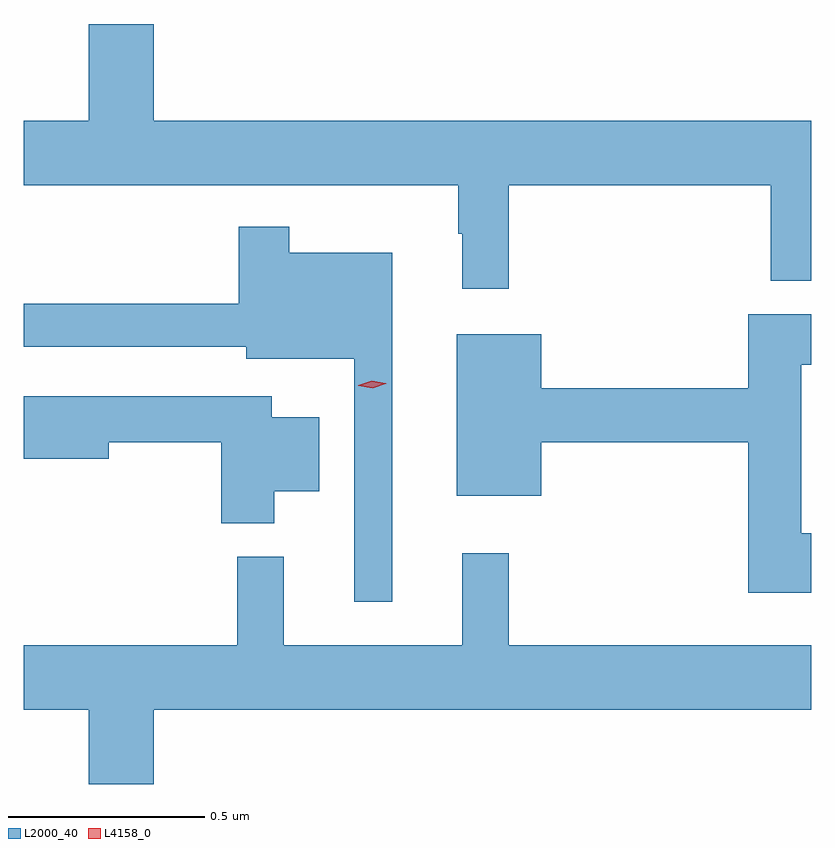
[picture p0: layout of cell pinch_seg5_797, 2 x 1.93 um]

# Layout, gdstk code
import gdstk
lib = gdstk.Library(unit=1e-6, precision=1e-09)
def P(c, l, *ps):  # polygons
    for p in ps: c.add(gdstk.Polygon(p, *l))
L2000_40 = (2000, 40)
L4158_0 = (4158, 0)

pinch_seg5_797 = lib.new_cell('pinch_seg5_797')
P(pinch_seg5_797, L2000_40, [(765.473,911.372),(766.139,911.372),(766.139,911.129),(766.242,911.129),(766.242,911.536),(764.572,911.536),(764.572,911.781),(764.408,911.781),(764.408,911.536),(764.242,911.536),(764.242,911.372),(765.345,911.372),(765.345,911.249),(765.356,911.249),(765.356,911.109),(765.473,911.109)],
  [(765.178,911.2),(764.917,911.2),(764.917,911.266),(764.788,911.266),(764.788,911.071),(764.242,911.071),(764.242,910.962),(764.807,910.962),(764.807,910.931),(765.081,910.931),(765.081,910.314),(765.178,910.314)],
  [(766.242,910.489),(766.216,910.489),(766.216,910.916),(766.242,910.916),(766.242,911.044),(766.082,911.044),(766.082,910.856),(765.556,910.856),(765.556,910.993),(765.341,910.993),(765.341,910.583),(765.556,910.583),(765.556,910.72),(766.082,910.72),(766.082,910.337),(766.242,910.337)],
  [(764.878,910.595),(764.992,910.595),(764.992,910.783),(764.872,910.783),(764.872,910.836),(764.242,910.836),(764.242,910.678),(764.458,910.678),(764.458,910.72),(764.744,910.72),(764.744,910.514),(764.878,910.514)],
  [(764.572,910.04),(766.242,910.04),(766.242,910.204),(765.473,910.204),(765.473,910.438),(765.356,910.438),(765.356,910.204),(764.903,910.204),(764.903,910.429),(764.785,910.429),(764.785,910.204),(764.242,910.204),(764.242,910.04),(764.408,910.04),(764.408,909.852),(764.572,909.852)])
P(pinch_seg5_797, L4158_0, [(765.128,910.856),(765.092,910.863),(765.091,910.863),(765.092,910.864),(765.126,910.876),(765.162,910.869),(765.163,910.868),(765.162,910.868)])

lib.write_gds('pinch_seg5_797.gds')
